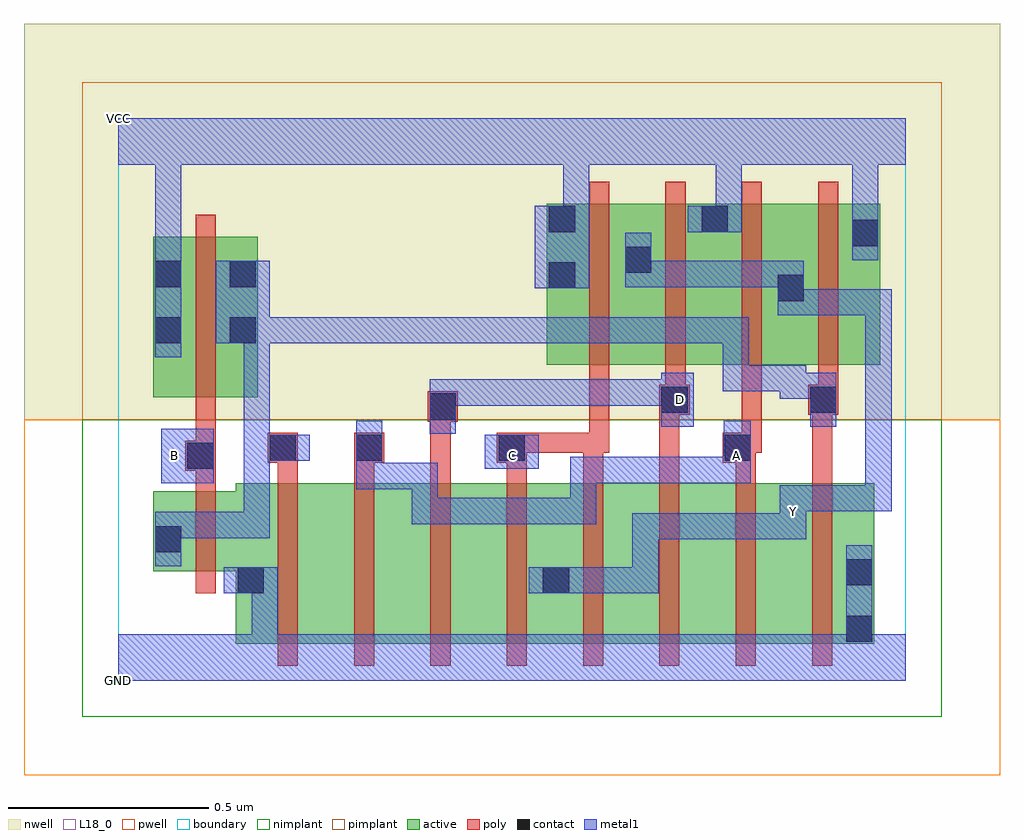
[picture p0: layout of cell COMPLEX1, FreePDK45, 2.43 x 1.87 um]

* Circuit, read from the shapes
.subckt COMPLEX1 A B C D GND VCC Y
M1 GND B n1 VSUBS nfet w=0.2u l=0.05u
M2 n2 n1 GND VSUBS nfet w=0.4u l=0.05u
M3 n3 A n2 VSUBS nfet w=0.4u l=0.05u
M4 n4 D n3 VSUBS nfet w=0.4u l=0.05u
M5 Y C n4 VSUBS nfet w=0.4u l=0.05u
M6 n5 C Y VSUBS nfet w=0.4u l=0.05u
M7 n6 D n5 VSUBS nfet w=0.4u l=0.05u
M8 n7 A n6 VSUBS nfet w=0.4u l=0.05u
M9 GND n1 n7 VSUBS nfet w=0.4u l=0.05u
M10 n1 B VCC n8 pfet w=0.4u l=0.05u
M11 Y C VCC n8 pfet w=0.4u l=0.05u
M12 VCC D Y n8 pfet w=0.4u l=0.05u
M13 Y A VCC n8 pfet w=0.4u l=0.05u
M14 VCC n1 Y n8 pfet w=0.4u l=0.05u
.ends

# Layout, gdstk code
import gdstk
lib = gdstk.Library(unit=1e-6, precision=1e-09)
def R(c, l, rs):  # rectangles x0, y0, x1, y1
    for r in rs: c.add(gdstk.rectangle(r[:2], r[2:], *l))
def A(c, l, x, y, w, h, nx, ny, dx, dy):  # array of equal rectangles
    R(c, l, [(x+i*dx, y+j*dy, x+i*dx+w, y+j*dy+h) for i in range(nx) for j in range(ny)])
active = (1, 0)
pwell = (2, 0)
nwell = (3, 0)
nimplant = (4, 0)
pimplant = (5, 0)
poly = (9, 0)
contact = (10, 0)
metal1 = (11, 0)
L18_0 = (18, 0)
boundary = (235, 0)

complex1 = lib.new_cell('COMPLEX1')
A(complex1, active, 1.067, 0.787, 0.265, 0.4, 3, 1, 0.19, 0)
A(complex1, active, 1.067, 0.907, 0.075, 0.28, 3, 1, 0.19, 0)
R(complex1, active, [(0.292,0.092,0.517,0.492), (0.292,0.092,0.367,0.31), (0.517,0.092,0.707,0.492), (0.707,0.092,0.897,0.492), (0.897,0.092,1.127,0.492), (1.052,0.092,1.277,0.492), (1.277,0.092,1.467,0.492), (1.467,0.092,1.657,0.492), (1.657,0.092,1.882,0.492), (1.807,0.092,1.882,0.492), (1.052,0.195,1.127,0.492), (0.087,0.272,0.367,0.472), (0.087,0.272,0.162,0.472), (0.087,0.705,0.162,1.105), (0.087,0.705,0.347,1.105), (0.272,0.705,0.347,1.105), (1.637,0.787,1.897,1.187), (1.822,0.787,1.897,1.187), (1.637,0.802,1.712,1.105)])
R(complex1, pwell, [(-0.235,-0.235,2.195,0.65)])
R(complex1, nwell, [(-0.235,0.65,2.195,1.635)])
R(complex1, nimplant, [(-0.09,-0.09,2.05,0.65)])
R(complex1, pimplant, [(-0.09,0.65,2.05,1.49)])
A(complex1, poly, 0.397, 0.037, 0.05, 0.51, 8, 1, 0.19, 0)
A(complex1, poly, 1.172, 0.732, 0.05, 0.51, 4, 1, 0.19, 0)
R(complex1, poly, [(0.192,0.217,0.242,0.527), (0.192,0.477,0.242,0.572), (0.397,0.497,0.447,0.592), (0.587,0.497,0.637,0.592), (0.777,0.497,0.827,0.695), (0.967,0.497,1.017,0.592), (1.157,0.497,1.207,0.617), (1.347,0.497,1.397,0.712), (1.537,0.497,1.587,0.592), (1.727,0.497,1.777,0.712), (0.167,0.522,0.242,0.597), (0.372,0.542,0.447,0.617), (0.587,0.542,0.662,0.617), (0.942,0.542,1.017,0.617), (1.505,0.542,1.587,0.617), (0.192,0.547,0.242,0.597), (0.192,0.547,0.242,0.597), (0.192,0.547,0.242,0.7), (0.967,0.567,1.017,0.617), (0.967,0.567,1.017,0.617), (0.967,0.567,1.207,0.617), (1.157,0.567,1.222,0.617), (1.172,0.567,1.222,0.617), (1.172,0.567,1.222,0.617), (1.172,0.567,1.222,0.782), (1.537,0.567,1.587,0.617), (1.537,0.567,1.602,0.617), (1.552,0.567,1.602,0.782), (0.77,0.645,0.845,0.72), (0.777,0.645,0.827,0.695), (0.777,0.645,0.827,0.695), (0.192,0.65,0.242,1.16), (1.347,0.662,1.397,0.712), (1.347,0.662,1.397,0.712), (1.347,0.662,1.422,0.737), (1.717,0.662,1.792,0.737), (1.727,0.662,1.777,0.712), (1.727,0.662,1.777,0.712), (1.362,0.687,1.412,0.782), (1.742,0.687,1.792,0.782)])
R(complex1, contact, [(1.812,0.097,1.877,0.162), (0.297,0.217,0.362,0.282), (1.057,0.217,1.122,0.282), (1.812,0.237,1.877,0.302), (0.092,0.32,0.157,0.385), (0.172,0.527,0.237,0.592), (0.377,0.547,0.442,0.612), (0.592,0.547,0.657,0.612), (0.947,0.547,1.012,0.612), (1.51,0.547,1.575,0.612), (0.775,0.65,0.84,0.715), (1.352,0.667,1.417,0.732), (1.722,0.667,1.787,0.732), (0.092,0.84,0.157,0.905), (0.277,0.84,0.342,0.905), (1.642,0.945,1.707,1.01), (1.072,0.977,1.137,1.042), (0.092,0.98,0.157,1.045), (0.277,0.98,0.342,1.045), (1.262,1.015,1.327,1.08), (1.827,1.082,1.892,1.147), (1.072,1.117,1.137,1.182), (1.452,1.117,1.517,1.182)])
R(complex1, metal1, [(0,0,1.96,0.115), (0.332,0.05,0.397,0.282), (1.812,0.05,1.877,0.127), (1.812,0.062,1.877,0.337), (0.262,0.217,0.397,0.282), (1.022,0.217,1.157,0.282), (1.092,0.217,1.19,0.282), (1.125,0.217,1.19,0.282), (1.125,0.217,1.345,0.282), (1.28,0.217,1.345,0.282), (1.28,0.217,1.345,0.417), (0.092,0.285,0.157,0.42), (1.28,0.352,1.345,0.417), (1.28,0.352,1.345,0.417), (1.28,0.352,1.345,0.417), (1.28,0.352,1.57,0.417), (1.505,0.352,1.57,0.417), (1.505,0.352,1.57,0.417), (1.505,0.352,1.57,0.417), (1.505,0.352,1.712,0.417), (1.647,0.352,1.712,0.487), (1.647,0.352,1.712,0.417), (1.647,0.352,1.712,0.417), (0.092,0.355,0.157,0.42), (0.092,0.355,0.157,0.42), (0.092,0.355,0.377,0.42), (0.312,0.355,0.377,0.42), (0.312,0.355,0.377,0.612), (0.73,0.39,0.795,0.455), (0.73,0.39,0.977,0.455), (0.73,0.39,0.795,0.542), (0.912,0.39,0.977,0.455), (0.912,0.39,1.19,0.455), (1.125,0.39,1.19,0.455), (1.125,0.39,1.19,0.557), (1.647,0.422,1.925,0.487), (1.86,0.422,1.925,0.487), (1.86,0.422,1.925,0.487), (1.86,0.422,1.925,0.487), (1.86,0.422,1.925,0.975), (0.592,0.477,0.795,0.542), (0.592,0.477,0.657,0.577), (0.73,0.477,0.795,0.542), (0.73,0.477,0.795,0.542), (0.73,0.477,0.795,0.542), (0.107,0.492,0.237,0.627), (1.125,0.492,1.19,0.557), (1.125,0.492,1.19,0.557), (1.125,0.492,1.19,0.557), (1.125,0.492,1.327,0.557), (1.262,0.492,1.327,0.557), (1.262,0.492,1.327,0.557), (1.262,0.492,1.327,0.557), (1.262,0.492,1.57,0.557), (1.505,0.492,1.57,0.557), (1.505,0.492,1.572,0.557), (1.507,0.492,1.575,0.647), (0.592,0.512,0.657,0.647), (0.592,0.512,0.657,0.577), (0.912,0.527,1.047,0.612), (0.312,0.547,0.377,0.612), (0.312,0.547,0.407,0.612), (0.312,0.547,0.377,0.725), (0.342,0.547,0.477,0.612), (0.775,0.615,0.84,0.75), (1.352,0.632,1.432,0.767), (1.722,0.632,1.787,0.767), (0.312,0.66,0.377,0.725), (0.312,0.66,0.377,0.905), (0.775,0.685,0.84,0.75), (0.775,0.685,0.84,0.75), (0.775,0.685,1.052,0.75), (0.987,0.685,1.052,0.75), (0.987,0.685,1.052,0.75), (0.987,0.685,1.052,0.75), (0.987,0.685,1.19,0.75), (1.125,0.685,1.19,0.75), (1.125,0.685,1.345,0.75), (1.28,0.685,1.345,0.75), (1.28,0.685,1.417,0.75), (1.647,0.702,1.787,0.767), (1.647,0.702,1.712,0.785), (1.505,0.72,1.57,0.785), (1.505,0.72,1.57,0.785), (1.505,0.72,1.57,0.785), (1.505,0.72,1.712,0.785), (1.505,0.72,1.57,0.905), (0.092,0.805,0.157,1.08), (0.242,0.84,0.377,1.045), (0.312,0.84,0.52,0.905), (0.455,0.84,0.52,0.905), (0.455,0.84,0.52,0.905), (0.455,0.84,0.52,0.905), (0.455,0.84,0.657,0.905), (0.592,0.84,0.657,0.905), (0.592,0.84,0.657,0.905), (0.592,0.84,0.657,0.905), (0.592,0.84,0.84,0.905), (0.775,0.84,0.84,0.905), (0.775,0.84,0.84,0.905), (0.775,0.84,0.84,0.905), (0.775,0.84,1.052,0.905), (0.987,0.84,1.052,0.905), (0.987,0.84,1.19,0.905), (1.125,0.84,1.19,0.905), (1.125,0.84,1.19,0.905), (1.125,0.84,1.19,0.905), (1.125,0.84,1.327,0.905), (1.262,0.84,1.327,0.905), (1.262,0.84,1.327,0.905), (1.262,0.84,1.327,0.905), (1.262,0.84,1.57,0.905), (1.505,0.84,1.57,0.905), (1.642,0.91,1.707,1.045), (1.642,0.91,1.792,0.975), (1.727,0.91,1.792,0.975), (1.727,0.91,1.925,0.975), (1.86,0.91,1.925,0.975), (1.86,0.91,1.925,0.975), (1.86,0.91,1.925,0.975), (1.037,0.977,1.172,1.182), (1.262,0.98,1.327,1.115), (1.262,0.98,1.327,1.045), (1.262,0.98,1.327,1.045), (1.262,0.98,1.57,1.045), (1.505,0.98,1.57,1.045), (1.505,0.98,1.57,1.045), (1.505,0.98,1.57,1.045), (1.505,0.98,1.707,1.045), (1.642,0.98,1.707,1.045), (1.642,0.98,1.707,1.045), (0.092,1.015,0.157,1.35), (1.827,1.047,1.892,1.182), (1.107,1.117,1.172,1.35), (1.417,1.117,1.552,1.182), (1.487,1.117,1.552,1.35), (1.827,1.117,1.892,1.35), (0,1.285,1.96,1.4)])
R(complex1, L18_0, [(0,0,1.96,0.115), (0.332,0.05,0.397,0.282), (1.812,0.05,1.877,0.127), (1.812,0.062,1.877,0.337), (0.262,0.217,0.397,0.282), (1.022,0.217,1.157,0.282), (1.092,0.217,1.19,0.282), (1.125,0.217,1.19,0.282), (1.125,0.217,1.345,0.282), (1.28,0.217,1.345,0.282), (1.28,0.217,1.345,0.417), (1.28,0.352,1.345,0.417), (1.28,0.352,1.345,0.417), (1.28,0.352,1.345,0.417), (1.28,0.352,1.57,0.417), (1.505,0.352,1.57,0.417), (1.505,0.352,1.57,0.417), (1.505,0.352,1.57,0.417), (1.505,0.352,1.712,0.417), (1.647,0.352,1.712,0.487), (1.647,0.352,1.712,0.417), (1.647,0.352,1.712,0.417), (1.647,0.387,1.712,0.452), (0.73,0.39,0.795,0.455), (0.73,0.39,0.795,0.542), (0.73,0.39,0.977,0.455), (0.912,0.39,0.977,0.455), (0.912,0.39,1.19,0.455), (1.125,0.39,1.19,0.455), (1.125,0.39,1.19,0.557), (1.647,0.422,1.925,0.487), (1.86,0.422,1.925,0.487), (1.86,0.422,1.925,0.487), (1.86,0.422,1.925,0.487), (1.86,0.422,1.925,0.975), (0.592,0.477,0.657,0.577), (0.592,0.477,0.795,0.542), (0.73,0.477,0.795,0.542), (0.73,0.477,0.795,0.542), (0.73,0.477,0.795,0.542), (0.107,0.492,0.237,0.627), (1.125,0.492,1.19,0.557), (1.125,0.492,1.19,0.557), (1.125,0.492,1.19,0.557), (1.125,0.492,1.327,0.557), (1.262,0.492,1.327,0.557), (1.262,0.492,1.327,0.557), (1.262,0.492,1.327,0.557), (1.262,0.492,1.57,0.557), (1.505,0.492,1.57,0.557), (1.505,0.492,1.572,0.557), (1.507,0.492,1.575,0.647), (0.592,0.512,0.657,0.647), (0.592,0.512,0.657,0.577), (0.107,0.527,0.172,0.592), (0.912,0.527,1.047,0.612), (0.947,0.527,1.012,0.592), (1.507,0.527,1.572,0.592), (0.775,0.615,0.84,0.75), (1.352,0.632,1.432,0.767), (1.367,0.667,1.432,0.732), (0.775,0.685,0.84,0.75), (0.775,0.685,0.84,0.75), (0.775,0.685,1.052,0.75), (0.987,0.685,1.052,0.75), (0.987,0.685,1.052,0.75), (0.987,0.685,1.052,0.75), (0.987,0.685,1.19,0.75), (1.125,0.685,1.19,0.75), (1.125,0.685,1.345,0.75), (1.28,0.685,1.345,0.75), (1.28,0.685,1.417,0.75), (0.092,0.805,0.157,1.08), (1.642,0.91,1.707,1.045), (1.642,0.91,1.792,0.975), (1.727,0.91,1.792,0.975), (1.727,0.91,1.925,0.975), (1.86,0.91,1.925,0.975), (1.86,0.91,1.925,0.975), (1.86,0.91,1.925,0.975), (1.037,0.977,1.172,1.182), (1.262,0.98,1.327,1.115), (1.262,0.98,1.327,1.045), (1.262,0.98,1.327,1.045), (1.262,0.98,1.57,1.045), (1.505,0.98,1.57,1.045), (1.505,0.98,1.57,1.045), (1.505,0.98,1.57,1.045), (1.505,0.98,1.707,1.045), (1.642,0.98,1.707,1.045), (1.642,0.98,1.707,1.045), (0.092,1.015,0.157,1.35), (1.827,1.047,1.892,1.182), (1.107,1.117,1.172,1.35), (1.417,1.117,1.552,1.182), (1.487,1.117,1.552,1.35), (1.827,1.117,1.892,1.35), (0,1.285,1.96,1.4)])
R(complex1, boundary, [(0,0,1.96,1.4)])
complex1.add(gdstk.Label('A', (1.54,0.56), layer=11, texttype=0))
complex1.add(gdstk.Label('B', (0.14,0.56), layer=11, texttype=0))
complex1.add(gdstk.Label('C', (0.98,0.56), layer=11, texttype=0))
complex1.add(gdstk.Label('D', (1.4,0.7), layer=11, texttype=0))
complex1.add(gdstk.Label('Y', (1.68,0.42), layer=11, texttype=0))
complex1.add(gdstk.Label('VCC', (0,1.4), layer=11, texttype=0))
complex1.add(gdstk.Label('GND', (0,0), layer=11, texttype=0))

lib.write_gds('COMPLEX1.gds')
